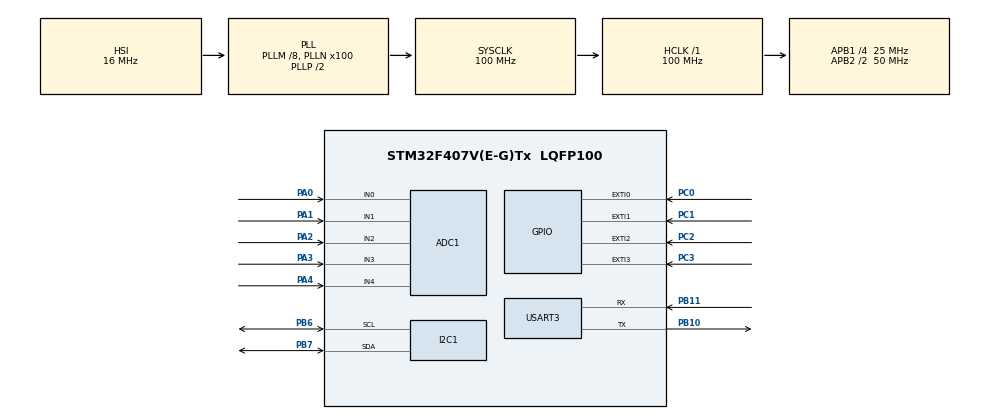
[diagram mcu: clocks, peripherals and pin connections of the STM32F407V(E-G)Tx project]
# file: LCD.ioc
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ADC1.Channel-0\#ChannelRegularConversion=ADC_CHANNEL_0
ADC1.Channel-1\#ChannelRegularConversion=ADC_CHANNEL_0
ADC1.Channel-2\#ChannelRegularConversion=ADC_CHANNEL_0
ADC1.Channel-3\#ChannelRegularConversion=ADC_CHANNEL_0
ADC1.Channel-4\#ChannelRegularConversion=ADC_CHANNEL_0
ADC1.ClockPrescaler=ADC_CLOCK_SYNC_PCLK_DIV8
ADC1.ContinuousConvMode=ENABLE
ADC1.NbrOfConversion=5
ADC1.NbrOfConversionFlag=1
ADC1.Rank-0\#ChannelRegularConversion=1
ADC1.Rank-1\#ChannelRegularConversion=2
ADC1.Rank-2\#ChannelRegularConversion=3
ADC1.Rank-3\#ChannelRegularConversion=4
ADC1.Rank-4\#ChannelRegularConversion=5
ADC1.SamplingTime-0\#ChannelRegularConversion=ADC_SAMPLETIME_480CYCLES
ADC1.SamplingTime-1\#ChannelRegularConversion=ADC_SAMPLETIME_480CYCLES
ADC1.SamplingTime-2\#ChannelRegularConversion=ADC_SAMPLETIME_480CYCLES
ADC1.SamplingTime-3\#ChannelRegularConversion=ADC_SAMPLETIME_480CYCLES
ADC1.SamplingTime-4\#ChannelRegularConversion=ADC_SAMPLETIME_480CYCLES
ADC1.ScanConvMode=ENABLE
ADC1.master=1
Dma.ADC1.0.Direction=DMA_PERIPH_TO_MEMORY
Dma.ADC1.0.FIFOMode=DMA_FIFOMODE_DISABLE
Dma.ADC1.0.Instance=DMA2_Stream0
Dma.ADC1.0.MemDataAlignment=DMA_MDATAALIGN_WORD
Dma.ADC1.0.MemInc=DMA_MINC_ENABLE
Dma.ADC1.0.Mode=DMA_CIRCULAR
Dma.ADC1.0.PeriphDataAlignment=DMA_PDATAALIGN_WORD
Dma.ADC1.0.PeriphInc=DMA_PINC_DISABLE
Dma.ADC1.0.Priority=DMA_PRIORITY_LOW
Dma.Request0=ADC1
Mcu.Family=STM32F4
Mcu.Name=STM32F407V(E-G)Tx
Mcu.Package=LQFP100
NVIC.DMA2_Stream0_IRQn=true\:0\:0\:false\:false\:true\:false\:true\:true
NVIC.EXTI0_IRQn=true\:0\:0\:false\:false\:true\:true\:true\:true
NVIC.EXTI1_IRQn=true\:0\:0\:false\:false\:true\:true\:true\:true
NVIC.EXTI2_IRQn=true\:0\:0\:false\:false\:true\:true\:true\:true
NVIC.EXTI3_IRQn=true\:0\:0\:false\:false\:true\:true\:true\:true
NVIC.PriorityGroup=NVIC_PRIORITYGROUP_4
PA0-WKUP.Signal=ADCx_IN0
PA1.Signal=ADCx_IN1
PA13.Mode=Serial_Wire
PA13.Signal=SYS_JTMS-SWDIO
PA14.Mode=Serial_Wire
PA14.Signal=SYS_JTCK-SWCLK
PA2.Signal=ADCx_IN2
PA3.Signal=ADCx_IN3
PA4.Signal=ADCx_IN4
PB10.Mode=Asynchronous
PB10.Signal=USART3_TX
PB11.Mode=Asynchronous
PB11.Signal=USART3_RX
PB6.Mode=I2C
PB6.Signal=I2C1_SCL
PB7.Mode=I2C
PB7.Signal=I2C1_SDA
PC0.GPIO_ModeDefaultEXTI=GPIO_MODE_IT_FALLING
PC0.GPIO_PuPd=GPIO_PULLUP
PC0.Signal=GPXTI0
PC1.GPIO_ModeDefaultEXTI=GPIO_MODE_IT_FALLING
PC1.GPIO_PuPd=GPIO_PULLUP
PC1.Signal=GPXTI1
PC2.GPIO_ModeDefaultEXTI=GPIO_MODE_IT_FALLING
PC2.GPIO_PuPd=GPIO_PULLUP
PC2.Signal=GPXTI2
PC3.GPIO_ModeDefaultEXTI=GPIO_MODE_IT_FALLING
PC3.GPIO_PuPd=GPIO_PULLUP
PC3.Signal=GPXTI3
ProjectManager.HeapSize=0x200
ProjectManager.StackSize=0x400
ProjectManager.TargetToolchain=STM32CubeIDE
RCC.48MHZClocksFreq_Value=50000000
RCC.AHBFreq_Value=100000000
RCC.APB1CLKDivider=RCC_HCLK_DIV4
RCC.APB1Freq_Value=25000000
RCC.APB1TimFreq_Value=50000000
RCC.APB2CLKDivider=RCC_HCLK_DIV2
RCC.APB2Freq_Value=50000000
RCC.APB2TimFreq_Value=100000000
RCC.CortexFreq_Value=100000000
RCC.HCLKFreq_Value=100000000
RCC.HSE_VALUE=25000000
RCC.HSI_VALUE=16000000
RCC.LSE_VALUE=32768
RCC.PLLM=8
RCC.PLLN=100
RCC.SYSCLKFreq_VALUE=100000000
RCC.SYSCLKSource=RCC_SYSCLKSOURCE_PLLCLK
RCC.VCOOutputFreq_Value=200000000
SH.ADCx_IN0.0=ADC1_IN0,IN0
SH.ADCx_IN1.0=ADC1_IN1,IN1
SH.ADCx_IN2.0=ADC1_IN2,IN2
SH.ADCx_IN3.0=ADC1_IN3,IN3
SH.ADCx_IN4.0=ADC1_IN4,IN4
USART3.VirtualMode=VM_ASYNC
board=custom

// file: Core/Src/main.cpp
/* USER CODE BEGIN Header */
/**
  ******************************************************************************
  * @file           : main.c
  * @brief          : Main program body
  ******************************************************************************
  * @attention
  *
  * Copyright (c) 2024 STMicroelectronics.
  * All rights reserved.
  *
  * This software is licensed under terms that can be found in the LICENSE file
  * in the root directory of this software component.
  * If no LICENSE file comes with this software, it is provided AS-IS.
  *
  ******************************************************************************
  */
/* USER CODE END Header */
#include "main.h"

/* USER CODE BEGIN Includes */
#include "Log.h"
#include "Button.h"
#include "Analog.h"
#include "Monitor.h"
#include "ChargeControl.h"
#include "SerialMonitor.h"
/* USER CODE END Includes */

/* USER CODE BEGIN PTD */
using namespace blib;
/* USER CODE END PTD */

ADC_HandleTypeDef hadc1;
DMA_HandleTypeDef hdma_adc1;

I2C_HandleTypeDef hi2c1;

UART_HandleTypeDef huart3;

void SystemClock_Config(void);
static void MX_GPIO_Init(void);
static void MX_DMA_Init(void);
static void MX_I2C1_Init(void);
static void MX_ADC1_Init(void);
static void MX_USART3_UART_Init(void);
/* USER CODE BEGIN PFP */
void HAL_GPIO_EXTI_Callback(uint16_t GPIO_pin)
{
    GPIO_TypeDef *pGPIOx = nullptr;
    static blib::Button::ButtonName lastedPressButton = blib::Button::ButtonName::UNDEFINED;
    uint32_t timedelay = 2000000U;

    for (volatile uint32_t i = 0; i < timedelay; i++);

    volatile uint32_t i = 0;

    if (GPIO_pin == GPIO_PIN_0)
    {
        LOGI("Button Up pin");
        lastedPressButton = blib::Button::ButtonName::UP;
        pGPIOx = GPIOC;
    }
    else if (GPIO_pin == GPIO_PIN_1)
    {
        LOGI("Button Down pin");
        lastedPressButton = blib::Button::ButtonName::DOWN;
        pGPIOx = GPIOC;
    }
    else if (GPIO_pin == GPIO_PIN_2)
    {
        LOGI("Button Back pin");
        lastedPressButton = blib::Button::ButtonName::BACK;
        pGPIOx = GPIOC;
    }
    else if (GPIO_pin == GPIO_PIN_3)
    {
        LOGI("Button Select pin");
        lastedPressButton = blib::Button::ButtonName::SEL;
        pGPIOx = GPIOC;
    }
    else
    {
        LOGI("Undefined Exti Signal");
    }

    blib::Button::getInstance().setLatestPressedButton(lastedPressButton);
    blib::Button::getInstance().handleSignal();
    if (pGPIOx != nullptr)
    {
        while ((HAL_GPIO_ReadPin(pGPIOx, GPIO_pin) == GPIO_PIN_RESET) & (i < (timedelay)))
        {
            i++;
        }
    }

    for (volatile uint32_t i = 0; i < timedelay; i++);

    __HAL_GPIO_EXTI_CLEAR_FLAG(GPIO_pin);
}

void HAL_ADC_ConvCpltCallback(ADC_HandleTypeDef *hadc)
{
    blib::Analog::getInstance().sampling();
}
/* USER CODE END PFP */

int main(void)
{

  /* MCU Configuration--------------------------------------------------------*/

  /* Reset of all peripherals, Initializes the Flash interface and the Systick. */
  HAL_Init();

  /* Configure the system clock */
  SystemClock_Config();

  /* Initialize all configured peripherals */
  MX_GPIO_Init();
  MX_DMA_Init();
  MX_I2C1_Init();
  MX_ADC1_Init();
  MX_USART3_UART_Init();
  /* USER CODE BEGIN 2 */
  HAL_Delay(3000);
//  Lcd mLcdDisplay(Lcd::LcdType::LCD_TYPE_2004, &hi2c1, 0x27 << 1);
//  mLcdDisplay.clearDisplay();
//  mLcdDisplay.displayLine(0, 2, "DO AN TOT NGHIEP");
//  mLcdDisplay.displayLine(1, 2, "NAM HOC: 2023-2024");
//  mLcdDisplay.displayLine(2, 2, "LOP: DTD61DH");
//  mLcdDisplay.displayLine(3, 1, "DAI HOC HANG HAI VN");

  LOGI("MPPT SOLAR CHARGE CONTROLLER");
  LOGI("DESIGNED BY ");
  LOGI("STARTING DEVICE...");
  auto &monitor = blib::Monitor::getInstance();
  auto &analog = blib::Analog::getInstance();
  auto &chargeCtrl = blib::ChargeControl::getInstance();
  auto &serialMnt = blib::SerialMonitor::getInstance();
  /* USER CODE END 2 */

  /* Infinite loop */
  while (1)
  {

    /* USER CODE BEGIN 3 */
      analog.readAnalog();
      chargeCtrl.run();
      serialMnt.show();
      monitor.showMenu();
      HAL_Delay(1000);
  }
  /* USER CODE END 3 */
}

void SystemClock_Config(void)
{
  RCC_OscInitTypeDef RCC_OscInitStruct = {0};
  RCC_ClkInitTypeDef RCC_ClkInitStruct = {0};

  /** Configure the main internal regulator output voltage
  */
  __HAL_RCC_PWR_CLK_ENABLE();
  __HAL_PWR_VOLTAGESCALING_CONFIG(PWR_REGULATOR_VOLTAGE_SCALE1);

  /** Initializes the RCC Oscillators according to the specified parameters
  * in the RCC_OscInitTypeDef structure.
  */
  RCC_OscInitStruct.OscillatorType = RCC_OSCILLATORTYPE_HSI;
  RCC_OscInitStruct.HSIState = RCC_HSI_ON;
  RCC_OscInitStruct.HSICalibrationValue = RCC_HSICALIBRATION_DEFAULT;
  RCC_OscInitStruct.PLL.PLLState = RCC_PLL_ON;
  RCC_OscInitStruct.PLL.PLLSource = RCC_PLLSOURCE_HSI;
  RCC_OscInitStruct.PLL.PLLM = 8;
  RCC_OscInitStruct.PLL.PLLN = 100;
  RCC_OscInitStruct.PLL.PLLP = RCC_PLLP_DIV2;
  RCC_OscInitStruct.PLL.PLLQ = 4;
  if (HAL_RCC_OscConfig(&RCC_OscInitStruct) != HAL_OK)
  {
    Error_Handler();
  }

  /** Initializes the CPU, AHB and APB buses clocks
  */
  RCC_ClkInitStruct.ClockType = RCC_CLOCKTYPE_HCLK|RCC_CLOCKTYPE_SYSCLK
                              |RCC_CLOCKTYPE_PCLK1|RCC_CLOCKTYPE_PCLK2;
  RCC_ClkInitStruct.SYSCLKSource = RCC_SYSCLKSOURCE_PLLCLK;
  RCC_ClkInitStruct.AHBCLKDivider = RCC_SYSCLK_DIV1;
  RCC_ClkInitStruct.APB1CLKDivider = RCC_HCLK_DIV4;
  RCC_ClkInitStruct.APB2CLKDivider = RCC_HCLK_DIV2;

  if (HAL_RCC_ClockConfig(&RCC_ClkInitStruct, FLASH_LATENCY_3) != HAL_OK)
  {
    Error_Handler();
  }
}

static void MX_ADC1_Init(void)
{

  ADC_ChannelConfTypeDef sConfig = {0};

  /** Configure the global features of the ADC (Clock, Resolution, Data Alignment and number of conversion)
  */
  hadc1.Instance = ADC1;
  hadc1.Init.ClockPrescaler = ADC_CLOCK_SYNC_PCLK_DIV8;
  hadc1.Init.Resolution = ADC_RESOLUTION_12B;
  hadc1.Init.ScanConvMode = ENABLE;
  hadc1.Init.ContinuousConvMode = ENABLE;
  hadc1.Init.DiscontinuousConvMode = DISABLE;
  hadc1.Init.ExternalTrigConvEdge = ADC_EXTERNALTRIGCONVEDGE_NONE;
  hadc1.Init.ExternalTrigConv = ADC_SOFTWARE_START;
  hadc1.Init.DataAlign = ADC_DATAALIGN_RIGHT;
  hadc1.Init.NbrOfConversion = 5;
  hadc1.Init.DMAContinuousRequests = DISABLE;
  hadc1.Init.EOCSelection = ADC_EOC_SINGLE_CONV;
  if (HAL_ADC_Init(&hadc1) != HAL_OK)
  {
    Error_Handler();
  }

  /** Configure for the selected ADC regular channel its corresponding rank in the sequencer and its sample time.
  */
  sConfig.Channel = ADC_CHANNEL_0;
  sConfig.Rank = 1;
  sConfig.SamplingTime = ADC_SAMPLETIME_480CYCLES;
  if (HAL_ADC_ConfigChannel(&hadc1, &sConfig) != HAL_OK)
  {
    Error_Handler();
  }

  /** Configure for the selected ADC regular channel its corresponding rank in the sequencer and its sample time.
  */
  sConfig.Rank = 2;
  if (HAL_ADC_ConfigChannel(&hadc1, &sConfig) != HAL_OK)
  {
    Error_Handler();
  }

  /** Configure for the selected ADC regular channel its corresponding rank in the sequencer and its sample time.
  */
  sConfig.Rank = 3;
  if (HAL_ADC_ConfigChannel(&hadc1, &sConfig) != HAL_OK)
  {
    Error_Handler();
  }

  /** Configure for the selected ADC regular channel its corresponding rank in the sequencer and its sample time.
  */
  sConfig.Rank = 4;
  if (HAL_ADC_ConfigChannel(&hadc1, &sConfig) != HAL_OK)
  {
    Error_Handler();
  }

  /** Configure for the selected ADC regular channel its corresponding rank in the sequencer and its sample time.
  */
  sConfig.Rank = 5;
  if (HAL_ADC_ConfigChannel(&hadc1, &sConfig) != HAL_OK)
  {
    Error_Handler();
  }

}

static void MX_I2C1_Init(void)
{

  hi2c1.Instance = I2C1;
  hi2c1.Init.ClockSpeed = 100000;
  hi2c1.Init.DutyCycle = I2C_DUTYCYCLE_2;
  hi2c1.Init.OwnAddress1 = 0;
  hi2c1.Init.AddressingMode = I2C_ADDRESSINGMODE_7BIT;
  hi2c1.Init.DualAddressMode = I2C_DUALADDRESS_DISABLE;
  hi2c1.Init.OwnAddress2 = 0;
  hi2c1.Init.GeneralCallMode = I2C_GENERALCALL_DISABLE;
  hi2c1.Init.NoStretchMode = I2C_NOSTRETCH_DISABLE;
  if (HAL_I2C_Init(&hi2c1) != HAL_OK)
  {
    Error_Handler();
  }

}

static void MX_USART3_UART_Init(void)
{

  huart3.Instance = USART3;
  huart3.Init.BaudRate = 115200;
  huart3.Init.WordLength = UART_WORDLENGTH_8B;
  huart3.Init.StopBits = UART_STOPBITS_1;
  huart3.Init.Parity = UART_PARITY_NONE;
  huart3.Init.Mode = UART_MODE_TX_RX;
  huart3.Init.HwFlowCtl = UART_HWCONTROL_NONE;
  huart3.Init.OverSampling = UART_OVERSAMPLING_16;
  if (HAL_UART_Init(&huart3) != HAL_OK)
  {
    Error_Handler();
  }

}

static void MX_DMA_Init(void)
{

  /* DMA controller clock enable */
  __HAL_RCC_DMA2_CLK_ENABLE();

  /* DMA interrupt init */
  /* DMA2_Stream0_IRQn interrupt configuration */
  HAL_NVIC_SetPriority(DMA2_Stream0_IRQn, 0, 0);
  HAL_NVIC_EnableIRQ(DMA2_Stream0_IRQn);

}

static void MX_GPIO_Init(void)
{
  GPIO_InitTypeDef GPIO_InitStruct = {0};

  /* GPIO Ports Clock Enable */
  __HAL_RCC_GPIOC_CLK_ENABLE();
  __HAL_RCC_GPIOA_CLK_ENABLE();
  __HAL_RCC_GPIOB_CLK_ENABLE();

  /*Configure GPIO pins : PC0 PC1 PC2 PC3 */
  GPIO_InitStruct.Pin = GPIO_PIN_0|GPIO_PIN_1|GPIO_PIN_2|GPIO_PIN_3;
  GPIO_InitStruct.Mode = GPIO_MODE_IT_FALLING;
  GPIO_InitStruct.Pull = GPIO_PULLUP;
  HAL_GPIO_Init(GPIOC, &GPIO_InitStruct);

  /* EXTI interrupt init*/
  HAL_NVIC_SetPriority(EXTI0_IRQn, 0, 0);
  HAL_NVIC_EnableIRQ(EXTI0_IRQn);

  HAL_NVIC_SetPriority(EXTI1_IRQn, 0, 0);
  HAL_NVIC_EnableIRQ(EXTI1_IRQn);

  HAL_NVIC_SetPriority(EXTI2_IRQn, 0, 0);
  HAL_NVIC_EnableIRQ(EXTI2_IRQn);

  HAL_NVIC_SetPriority(EXTI3_IRQn, 0, 0);
  HAL_NVIC_EnableIRQ(EXTI3_IRQn);

}

void Error_Handler(void)
{
  __disable_irq();
  while (1)
  {
  }
}
